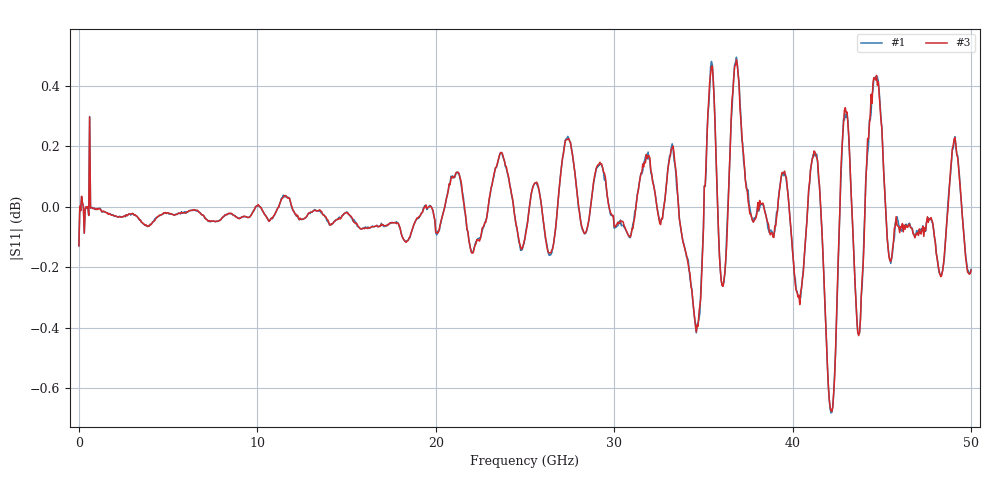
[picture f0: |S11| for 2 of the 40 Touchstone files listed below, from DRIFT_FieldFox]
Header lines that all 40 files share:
!Created with skrf (http://scikit-rf.org).
# Hz S RI R 50.0
!freq ReS11 ImS11
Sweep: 300 kHz to 50 GHz
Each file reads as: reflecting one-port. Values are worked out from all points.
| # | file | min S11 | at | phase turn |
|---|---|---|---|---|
| 1 | DRIFT1_t=17247s.s1p | -0.7 dB | 42.15 GHz | -818 deg |
| 2 | DRIFT1_t=17300s.s1p | -0.7 dB | 42.15 GHz | -818 deg |
| 3 | DRIFT1_t=17353s.s1p | -0.7 dB | 42.2 GHz | -818 deg |
| 4 | DRIFT1_t=17406s.s1p | -0.7 dB | 42.15 GHz | -818 deg |
| 5 | DRIFT1_t=17458s.s1p | -0.7 dB | 42.2 GHz | -818 deg |
| 6 | DRIFT1_t=17511s.s1p | -0.7 dB | 42.2 GHz | -818 deg |
| 7 | DRIFT1_t=17564s.s1p | -0.7 dB | 42.2 GHz | -818 deg |
| 8 | DRIFT1_t=17617s.s1p | -0.7 dB | 42.2 GHz | -818 deg |
| 9 | DRIFT1_t=17670s.s1p | -0.7 dB | 42.2 GHz | -818 deg |
| 10 | DRIFT1_t=17723s.s1p | -0.7 dB | 42.2 GHz | -818 deg |
| 11 | DRIFT1_t=17776s.s1p | -0.7 dB | 42.2 GHz | -818 deg |
| 12 | DRIFT1_t=17829s.s1p | -0.7 dB | 42.2 GHz | -818 deg |
| 13 | DRIFT1_t=17882s.s1p | -0.7 dB | 42.15 GHz | -818 deg |
| 14 | DRIFT1_t=17934s.s1p | -0.7 dB | 42.2 GHz | -818 deg |
| 15 | DRIFT1_t=17987s.s1p | -0.7 dB | 42.2 GHz | -818 deg |
| 16 | DRIFT1_t=18040s.s1p | -0.7 dB | 42.2 GHz | -818 deg |
| 17 | DRIFT1_t=18093s.s1p | -0.7 dB | 42.15 GHz | -818 deg |
| 18 | DRIFT1_t=18146s.s1p | -0.7 dB | 42.15 GHz | -818 deg |
| 19 | DRIFT1_t=18199s.s1p | -0.7 dB | 42.2 GHz | -818 deg |
| 20 | DRIFT1_t=18252s.s1p | -0.7 dB | 42.2 GHz | -818 deg |
| 21 | DRIFT1_t=18305s.s1p | -0.7 dB | 42.2 GHz | -818 deg |
| 22 | DRIFT1_t=18358s.s1p | -0.7 dB | 42.2 GHz | -818 deg |
| 23 | DRIFT1_t=18411s.s1p | -0.7 dB | 42.2 GHz | -818 deg |
| 24 | DRIFT1_t=18463s.s1p | -0.7 dB | 42.2 GHz | -818 deg |
| 25 | DRIFT1_t=18516s.s1p | -0.7 dB | 42.15 GHz | -818 deg |
| 26 | DRIFT1_t=18569s.s1p | -0.7 dB | 42.15 GHz | -818 deg |
| 27 | DRIFT1_t=18622s.s1p | -0.7 dB | 42.2 GHz | -818 deg |
| 28 | DRIFT1_t=18675s.s1p | -0.7 dB | 42.2 GHz | -818 deg |
| 29 | DRIFT1_t=18728s.s1p | -0.7 dB | 42.2 GHz | -818 deg |
| 30 | DRIFT1_t=18781s.s1p | -0.7 dB | 42.2 GHz | -818 deg |
| 31 | DRIFT1_t=18834s.s1p | -0.7 dB | 42.2 GHz | -818 deg |
| 32 | DRIFT1_t=18887s.s1p | -0.7 dB | 42.15 GHz | -818 deg |
| 33 | DRIFT1_t=18939s.s1p | -0.7 dB | 42.2 GHz | -818 deg |
| 34 | DRIFT1_t=18992s.s1p | -0.7 dB | 42.15 GHz | -818 deg |
| 35 | DRIFT1_t=19045s.s1p | -0.7 dB | 42.2 GHz | -818 deg |
| 36 | DRIFT1_t=19098s.s1p | -0.7 dB | 42.2 GHz | -818 deg |
| 37 | DRIFT1_t=19151s.s1p | -0.7 dB | 42.2 GHz | -818 deg |
| 38 | DRIFT1_t=19204s.s1p | -0.7 dB | 42.15 GHz | -818 deg |
| 39 | DRIFT1_t=19257s.s1p | -0.7 dB | 42.2 GHz | -818 deg |
| 40 | DRIFT1_t=19310s.s1p | -0.7 dB | 42.2 GHz | -818 deg |
